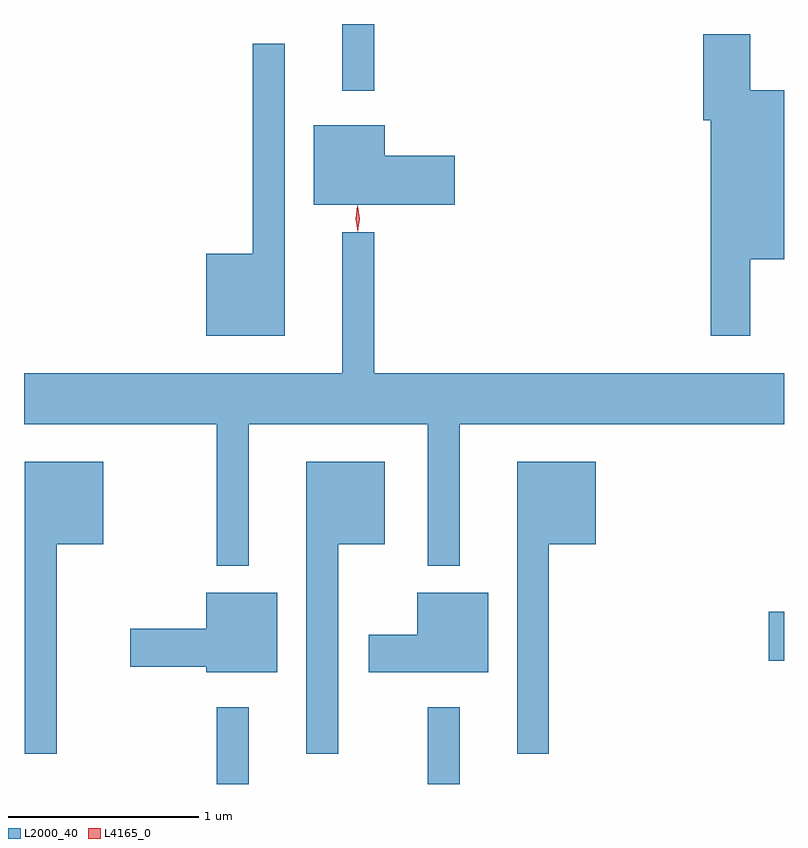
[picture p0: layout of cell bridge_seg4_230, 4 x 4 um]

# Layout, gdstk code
import gdstk
lib = gdstk.Library(unit=1e-6, precision=1e-09)
def R(c, l, rs):  # rectangles x0, y0, x1, y1
    for r in rs: c.add(gdstk.rectangle(r[:2], r[2:], *l))
def P(c, l, *ps):  # polygons
    for p in ps: c.add(gdstk.Polygon(p, *l))
L2000_40 = (2000, 40)
L4165_0 = (4165, 0)

bridge_seg4_230 = lib.new_cell('bridge_seg4_230')
R(bridge_seg4_230, L2000_40, [(730.021,1366.103,730.189,1366.508), (731.131,1366.103,731.299,1366.508), (732.926,1366.751,733.006,1367.009), (730.681,1369.753,730.849,1370.103)])
P(bridge_seg4_230, L2000_40, [(732.829,1368.866),(733.006,1368.866),(733.006,1369.754),(732.829,1369.754),(732.829,1370.049),(732.581,1370.049),(732.581,1369.596),(732.621,1369.596),(732.621,1368.461),(732.829,1368.461)],
  [(730.379,1369.998),(730.211,1369.998),(730.211,1368.894),(729.966,1368.894),(729.966,1368.461),(730.379,1368.461)],
  [(731.274,1369.409),(730.904,1369.409),(730.904,1369.569),(730.531,1369.569),(730.531,1369.151),(731.274,1369.151)],
  [(730.189,1367.996),(731.131,1367.996),(731.131,1367.253),(731.299,1367.253),(731.299,1367.996),(733.006,1367.996),(733.006,1368.264),(730.849,1368.264),(730.849,1369.008),(730.681,1369.008),(730.681,1368.264),(729.006,1368.264),(729.006,1367.996),(730.021,1367.996),(730.021,1367.253),(730.189,1367.253)],
  [(731.769,1367.366),(732.014,1367.366),(732.014,1367.799),(731.601,1367.799),(731.601,1366.263),(731.769,1366.263)],
  [(730.659,1367.366),(730.904,1367.366),(730.904,1367.799),(730.491,1367.799),(730.491,1366.263),(730.659,1366.263)],
  [(729.179,1367.366),(729.424,1367.366),(729.424,1367.799),(729.011,1367.799),(729.011,1366.263),(729.179,1366.263)],
  [(730.339,1367.109),(729.966,1367.109),(729.966,1366.919),(729.566,1366.919),(729.566,1366.721),(729.966,1366.721),(729.966,1366.691),(730.339,1366.691)],
  [(731.449,1367.109),(731.076,1367.109),(731.076,1366.889),(730.821,1366.889),(730.821,1366.691),(731.449,1366.691)])
P(bridge_seg4_230, L4165_0, [(730.762,1369.01),(730.762,1369.01),(730.752,1369.078),(730.761,1369.146),(730.761,1369.146),(730.762,1369.146),(730.772,1369.078),(730.762,1369.01)],
  [(730.762,1369.013),(730.762,1369.013),(730.751,1369.076),(730.76,1369.139),(730.761,1369.14),(730.761,1369.139),(730.771,1369.076),(730.762,1369.013)])

lib.write_gds('bridge_seg4_230.gds')
